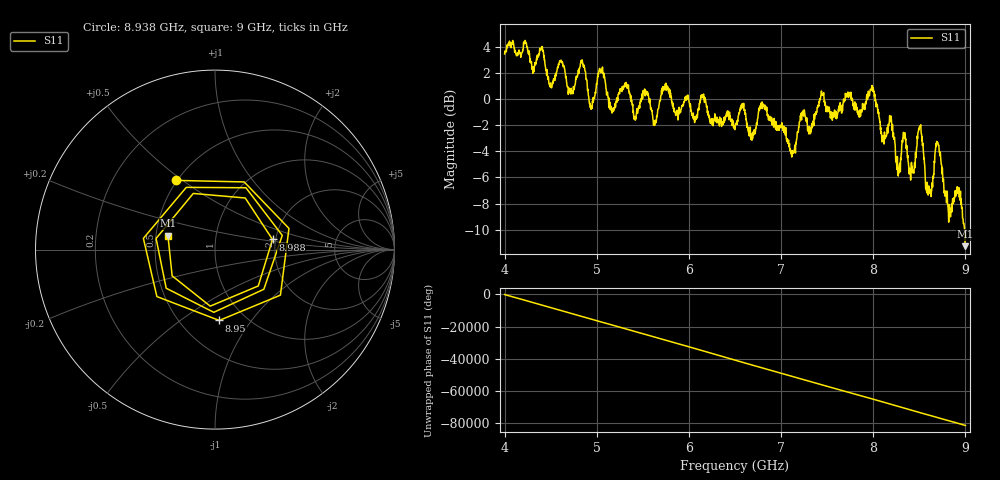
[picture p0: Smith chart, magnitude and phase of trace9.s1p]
! Created with skrf 1.8.0 (http://scikit-rf.org).
# Hz S RI R 50.0
!freq ReS11 ImS11
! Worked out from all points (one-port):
!   1601 points, 4 GHz to 9 GHz, reference 50 ohm
!   lowest |S11| = -11.3 dB at 9 GHz (marker M1), VSWR 1.75, Z = 28.9 + j4.9 ohm
!   |S11| at or under -10 dB: 8.990621 GHz to end of sweep
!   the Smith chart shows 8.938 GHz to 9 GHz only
!   S11 on the Smith chart (normalised r, x): 8.938 GHz: 0.49, +0.47; 8.95 GHz: 0.76, -0.71; 8.988 GHz: 1.92, +0.24; 9 GHz: 0.58, +0.10
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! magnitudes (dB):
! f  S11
! 4 GHz  3.4
! 4.403 GHz  4.0
! 4.503 GHz  0.9
! 4.625 GHz  2.8
! 4.716 GHz  0.6
! 4.847 GHz  2.7
! 4.941 GHz  -0.6
! 5.041 GHz  2.1
! 5.162 GHz  -0.9
! 5.25 GHz  0.6
! 5.875 GHz  -1.2
! 6.5 GHz  -2.3
! 6.806 GHz  -0.5
! 7.125 GHz  -4.0
! 7.234 GHz  -0.9
! 7.75 GHz  0.5
! 7.991 GHz  0.9
! 8.269 GHz  -5.7
! 8.375 GHz  -4.3
! 8.428 GHz  -5.6
! 8.506 GHz  -2.1
! 8.594 GHz  -7.1
! 8.697 GHz  -3.3
! 8.819 GHz  -9.4
! 8.938 GHz  -7.1
! 8.95 GHz  -8.1
! 8.988 GHz  -9.8
! 9 GHz  -11.3
